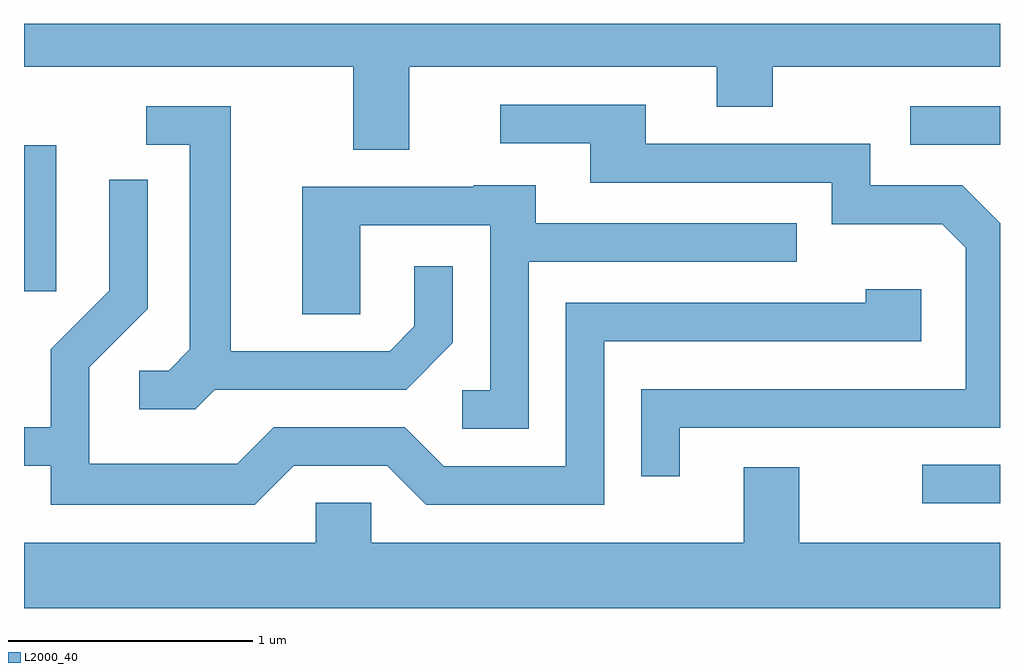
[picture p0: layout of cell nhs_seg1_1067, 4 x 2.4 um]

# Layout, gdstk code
import gdstk
lib = gdstk.Library(unit=1e-6, precision=1e-09)
def R(c, l, rs):  # rectangles x0, y0, x1, y1
    for r in rs: c.add(gdstk.rectangle(r[:2], r[2:], *l))
def P(c, l, *ps):  # polygons
    for p in ps: c.add(gdstk.Polygon(p, *l))
L2000_40 = (2000, 40)

nhs_seg1_1067 = lib.new_cell('nhs_seg1_1067')
R(nhs_seg1_1067, L2000_40, [(221.293,937.746,221.611,937.904), (217.611,938.616,217.744,939.214), (221.243,939.216,221.611,939.374)])
P(nhs_seg1_1067, L2000_40, [(219.189,939.536),(220.451,939.536),(220.451,939.371),(220.679,939.371),(220.679,939.536),(221.611,939.536),(221.611,939.712),(217.611,939.712),(217.611,939.536),(218.961,939.536),(218.961,939.196),(219.189,939.196)],
  [(220.299,938.056),(221.611,938.056),(221.611,938.895),(221.457,939.049),(221.079,939.049),(221.079,939.219),(220.159,939.219),(220.159,939.379),(219.563,939.379),(219.563,939.221),(219.931,939.221),(219.931,939.061),(220.921,939.061),(220.921,938.891),(221.374,938.891),(221.471,938.794),(221.471,938.214),(220.141,938.214),(220.141,937.858),(220.299,937.858)],
  [(218.392,938.211),(219.177,938.211),(219.369,938.404),(219.369,938.718),(219.211,938.718),(219.211,938.472),(219.109,938.369),(218.459,938.369),(218.459,939.374),(218.113,939.374),(218.113,939.216),(218.291,939.216),(218.291,938.377),(218.204,938.289),(218.083,938.289),(218.083,938.131),(218.312,938.131)],
  [(218.717,937.901),(219.099,937.901),(219.259,937.741),(219.989,937.741),(219.989,938.411),(221.289,938.411),(221.289,938.624),(221.061,938.624),(221.061,938.569),(219.831,938.569),(219.831,937.899),(219.332,937.899),(219.172,938.059),(218.634,938.059),(218.484,937.909),(217.879,937.909),(217.879,938.304),(218.119,938.544),(218.119,939.073),(217.961,939.073),(217.961,938.617),(217.721,938.377),(217.721,938.059),(217.611,938.059),(217.611,937.901),(217.721,937.901),(217.721,937.741),(218.557,937.741)],
  [(219.679,938.736),(220.778,938.736),(220.778,938.894),(219.709,938.894),(219.709,939.049),(219.455,939.049),(219.455,939.044),(218.751,939.044),(218.751,938.521),(218.989,938.521),(218.989,938.886),(219.521,938.886),(219.521,938.209),(219.408,938.209),(219.408,938.051),(219.679,938.051)],
  [(221.611,937.584),(220.789,937.584),(220.789,937.894),(220.561,937.894),(220.561,937.584),(219.034,937.584),(219.034,937.749),(218.806,937.749),(218.806,937.584),(217.611,937.584),(217.611,937.316),(221.611,937.316)])

lib.write_gds('nhs_seg1_1067.gds')
